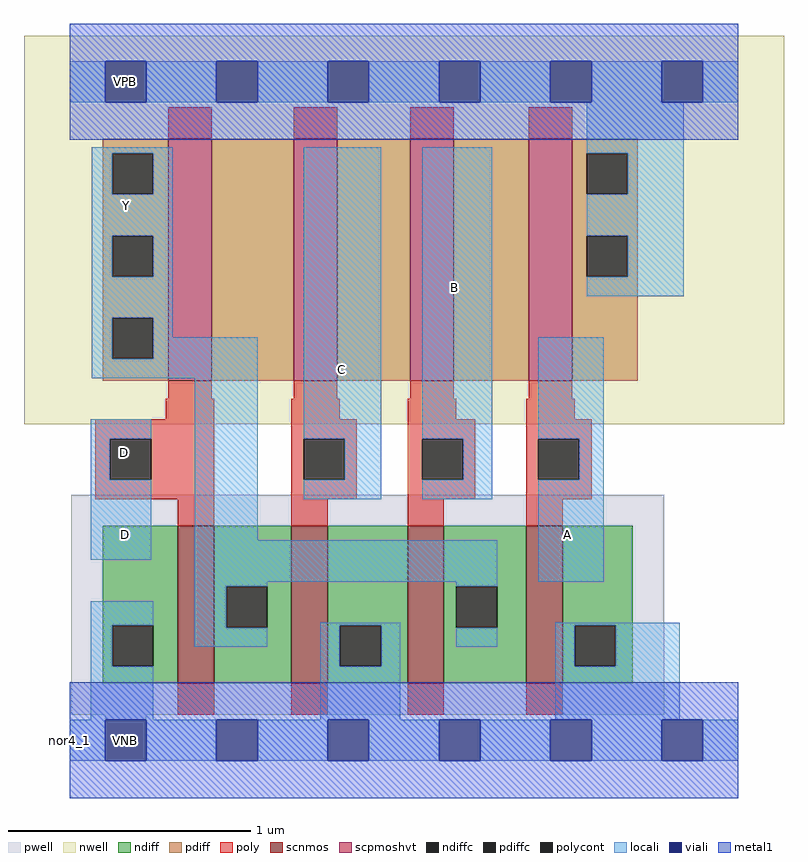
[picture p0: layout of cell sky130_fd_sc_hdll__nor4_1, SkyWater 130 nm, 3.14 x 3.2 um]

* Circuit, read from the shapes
.subckt sky130_fd_sc_hdll__nor4_1 A B C D VGND VNB VPB VPWR Y
XM1 Y D VGND VNB sky130_fd_pr__nfet_01v8 w=0.65 l=0.15
XM2 VGND C Y VNB sky130_fd_pr__nfet_01v8 w=0.65 l=0.15
XM3 Y B VGND VNB sky130_fd_pr__nfet_01v8 w=0.65 l=0.15
XM4 VGND A Y VNB sky130_fd_pr__nfet_01v8 w=0.65 l=0.15
XM5 n1 D Y VPB sky130_fd_pr__pfet_01v8_hvt w=1 l=0.18
XM6 n2 C n1 VPB sky130_fd_pr__pfet_01v8_hvt w=1 l=0.18
XM7 n3 B n2 VPB sky130_fd_pr__pfet_01v8_hvt w=1 l=0.18
XM8 VPWR A n3 VPB sky130_fd_pr__pfet_01v8_hvt w=1 l=0.18
.ends

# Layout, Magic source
magic
tech sky130A
magscale 1 2
<< nwell >>
rect -38 261 590 582
<< pwell >>
rect 1 21 491 203
rect 29 -17 63 21
<< scnmos >>
rect 89 47 119 177
rect 183 47 213 177
rect 279 47 309 177
rect 377 47 407 177
<< scpmoshvt >>
rect 81 297 117 497
rect 185 297 221 497
rect 281 297 317 497
rect 379 297 415 497
<< ndiff >>
rect 27 95 89 177
rect 27 61 35 95
rect 69 61 89 95
rect 27 47 89 61
rect 119 127 183 177
rect 119 93 129 127
rect 163 93 183 127
rect 119 47 183 93
rect 213 95 279 177
rect 213 61 223 95
rect 257 61 279 95
rect 213 47 279 61
rect 309 127 377 177
rect 309 93 319 127
rect 353 93 377 127
rect 309 47 377 93
rect 407 95 465 177
rect 407 61 417 95
rect 451 61 465 95
rect 407 47 465 61
<< pdiff >>
rect 27 485 81 497
rect 27 451 35 485
rect 69 451 81 485
rect 27 417 81 451
rect 27 383 35 417
rect 69 383 81 417
rect 27 349 81 383
rect 27 315 35 349
rect 69 315 81 349
rect 27 297 81 315
rect 117 297 185 497
rect 221 297 281 497
rect 317 297 379 497
rect 415 485 469 497
rect 415 451 427 485
rect 461 451 469 485
rect 415 417 469 451
rect 415 383 427 417
rect 461 383 469 417
rect 415 297 469 383
<< ndiffc >>
rect 35 61 69 95
rect 129 93 163 127
rect 223 61 257 95
rect 319 93 353 127
rect 417 61 451 95
<< pdiffc >>
rect 35 451 69 485
rect 35 383 69 417
rect 35 315 69 349
rect 427 451 461 485
rect 427 383 461 417
<< poly >>
rect 81 497 117 523
rect 185 497 221 523
rect 281 497 317 523
rect 379 497 415 523
rect 81 282 117 297
rect 185 282 221 297
rect 281 282 317 297
rect 379 282 415 297
rect 79 265 119 282
rect 21 249 119 265
rect 21 215 33 249
rect 67 215 119 249
rect 21 199 119 215
rect 89 177 119 199
rect 183 265 223 282
rect 279 265 319 282
rect 377 265 417 282
rect 183 249 237 265
rect 183 215 193 249
rect 227 215 237 249
rect 183 199 237 215
rect 279 249 335 265
rect 279 215 291 249
rect 325 215 335 249
rect 279 199 335 215
rect 377 249 431 265
rect 377 215 387 249
rect 421 215 431 249
rect 377 199 431 215
rect 183 177 213 199
rect 279 177 309 199
rect 377 177 407 199
rect 89 21 119 47
rect 183 21 213 47
rect 279 21 309 47
rect 377 21 407 47
<< polycont >>
rect 33 215 67 249
rect 193 215 227 249
rect 291 215 325 249
rect 387 215 421 249
<< locali >>
rect 0 527 29 561
rect 63 527 121 561
rect 155 527 213 561
rect 247 527 305 561
rect 339 527 397 561
rect 431 527 489 561
rect 523 527 552 561
rect 18 485 85 490
rect 18 451 35 485
rect 69 451 85 485
rect 18 417 85 451
rect 18 383 35 417
rect 69 383 85 417
rect 18 349 85 383
rect 18 315 35 349
rect 69 333 85 349
rect 69 315 155 333
rect 18 299 155 315
rect 17 249 67 265
rect 17 215 33 249
rect 17 149 67 215
rect 103 165 155 299
rect 193 249 257 490
rect 227 215 257 249
rect 193 199 257 215
rect 291 249 349 490
rect 427 485 507 527
rect 461 451 507 485
rect 427 417 507 451
rect 461 383 507 417
rect 427 367 507 383
rect 325 215 349 249
rect 291 199 349 215
rect 387 249 441 333
rect 421 215 441 249
rect 103 131 353 165
rect 387 131 441 215
rect 103 127 163 131
rect 17 95 69 115
rect 17 61 35 95
rect 103 93 129 127
rect 319 127 353 131
rect 103 77 163 93
rect 207 95 273 97
rect 17 17 69 61
rect 207 61 223 95
rect 257 61 273 95
rect 319 77 353 93
rect 401 95 504 97
rect 207 17 273 61
rect 401 61 417 95
rect 451 61 504 95
rect 401 17 504 61
rect 0 -17 29 17
rect 63 -17 121 17
rect 155 -17 213 17
rect 247 -17 305 17
rect 339 -17 397 17
rect 431 -17 489 17
rect 523 -17 552 17
<< viali >>
rect 29 527 63 561
rect 121 527 155 561
rect 213 527 247 561
rect 305 527 339 561
rect 397 527 431 561
rect 489 527 523 561
rect 29 -17 63 17
rect 121 -17 155 17
rect 213 -17 247 17
rect 305 -17 339 17
rect 397 -17 431 17
rect 489 -17 523 17
<< metal1 >>
rect 0 561 552 592
rect 0 527 29 561
rect 63 527 121 561
rect 155 527 213 561
rect 247 527 305 561
rect 339 527 397 561
rect 431 527 489 561
rect 523 527 552 561
rect 0 496 552 527
rect 0 17 552 48
rect 0 -17 29 17
rect 63 -17 121 17
rect 155 -17 213 17
rect 247 -17 305 17
rect 339 -17 397 17
rect 431 -17 489 17
rect 523 -17 552 17
rect 0 -48 552 -17
<< labels >>
flabel locali s 29 153 63 187 0 FreeSans 400 0 0 0 D
port 4 nsew signal input
flabel locali s 207 289 241 323 0 FreeSans 400 0 0 0 C
port 3 nsew signal input
flabel locali s 28 221 62 255 0 FreeSans 400 0 0 0 D
port 4 nsew signal input
flabel locali s 30 425 64 459 0 FreeSans 200 0 0 0 Y
port 9 nsew signal output
flabel locali s 394 153 428 187 0 FreeSans 400 0 0 0 A
port 1 nsew signal input
flabel locali s 301 357 335 391 0 FreeSans 400 0 0 0 B
port 2 nsew signal input
flabel nwell s 29 527 63 561 0 FreeSans 200 0 0 0 VPB
port 7 nsew power bidirectional
flabel pwell s 29 -17 63 17 0 FreeSans 200 0 0 0 VNB
port 6 nsew ground bidirectional
flabel metal1 s 29 -17 63 17 0 FreeSans 200 0 0 0 VGND
port 5 nsew ground bidirectional
flabel metal1 s 29 527 63 561 0 FreeSans 200 0 0 0 VPWR
port 8 nsew power bidirectional
rlabel comment s 0 0 0 0 4 nor4_1
<< properties >>
string LEFsite unithd
string LEFclass CORE
string FIXED_BBOX 0 0 552 544
string GDS_FILE $PDKPATH/libs.ref/sky130_fd_sc_hdll/gds/sky130_fd_sc_hdll.gds
string LEFsymmetry X Y R90
string GDS_END 2364236
string GDS_START 2359356
string LEFproperties maskLayoutSubType "abstract" prCellType "standard" originalViewName "layout"
<< end >>
